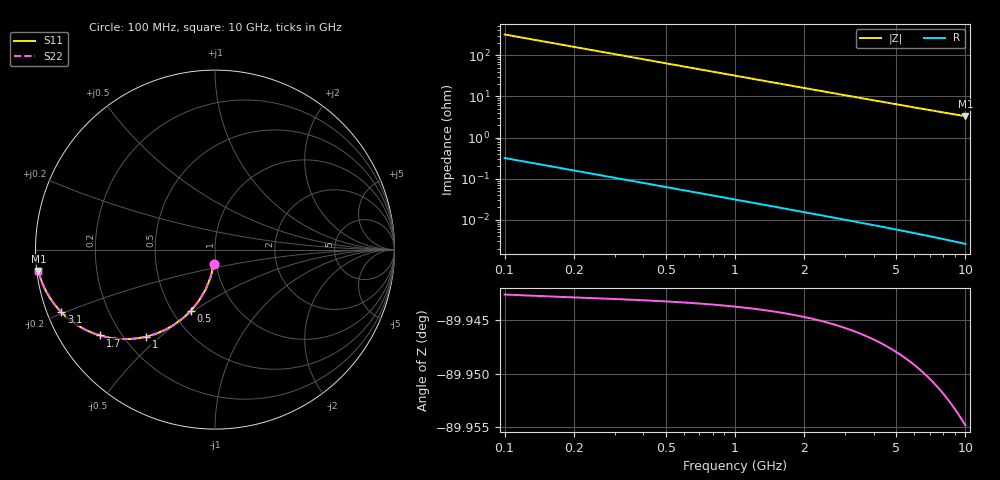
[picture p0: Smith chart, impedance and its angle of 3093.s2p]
# Hz S RI R 50.00
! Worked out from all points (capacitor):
!   100 points, 100 MHz to 10 GHz, reference 50 ohm
!   read as one part in shunt: C = 5 pF near 100 MHz
!   lowest |Z| = 3.31 ohm at 10 GHz (marker M1)
!   S11 on the Smith chart (normalised r, x): 100 MHz: 0.98, -0.15; 500 MHz: 0.62, -0.48; 1 GHz: 0.29, -0.45; 1.7 GHz: 0.12, -0.33; 3.1 GHz: 0.04, -0.20; 10 GHz: 0.00, -0.06
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1e8  -0.00618 -0.078  0.9938 -0.0781  0.9938 -0.0781  -0.00618 -0.078
2e8  -0.0242 -0.1532  0.9757 -0.1534  0.9757 -0.1534  -0.0242 -0.1532
3e8  -0.0528 -0.223  0.9471 -0.2234  0.9471 -0.2234  -0.0528 -0.223
4e8  -0.0901 -0.2856  0.9099 -0.2861  0.9099 -0.2861  -0.0901 -0.2856
5e8  -0.1339 -0.3398  0.8661 -0.3404  0.8661 -0.3404  -0.1339 -0.3398
6e8  -0.182 -0.385  0.8179 -0.3857  0.8179 -0.3857  -0.182 -0.385
7e8  -0.2324 -0.4215  0.7676 -0.4223  0.7676 -0.4223  -0.2324 -0.4215
8e8  -0.2833 -0.4496  0.7167 -0.4506  0.7167 -0.4506  -0.2833 -0.4496
1e9  -0.3817 -0.4847  0.6183 -0.4859  0.6183 -0.4859  -0.3817 -0.4847
1.3e9  -0.5104 -0.4986  0.4896 -0.5001  0.4896 -0.5001  -0.5104 -0.4986
1.5e9  -0.5811 -0.492  0.4188 -0.4937  0.4188 -0.4937  -0.5811 -0.492
1.7e9  -0.6404 -0.4784  0.3595 -0.4803  0.3595 -0.4803  -0.6404 -0.4784
1.8e9  -0.6663 -0.47  0.3337 -0.4721  0.3337 -0.4721  -0.6663 -0.47
2.1e9  -0.7309 -0.4418  0.269 -0.4442  0.269 -0.4442  -0.7309 -0.4418
2.4e9  -0.78 -0.4123  0.2199 -0.4151  0.2199 -0.4151  -0.78 -0.4123
3.1e9  -0.8553 -0.3495  0.1446 -0.353  0.1446 -0.353  -0.8553 -0.3495
3.4e9  -0.8767 -0.3263  0.1233 -0.3302  0.1233 -0.3302  -0.8767 -0.3263
4.2e9  -0.9155 -0.2751  0.0844 -0.2799  0.0844 -0.2799  -0.9155 -0.2751
5.1e9  -0.9411 -0.2319  0.0588 -0.2378  0.0588 -0.2378  -0.9411 -0.2319
6.7e9  -0.965 -0.1791  0.0349 -0.187  0.0349 -0.187  -0.965 -0.1791
8.4e9  -0.9775 -0.1426  0.0224 -0.1525  0.0224 -0.1525  -0.9775 -0.1426
1e10  -0.9841 -0.1184  0.0158 -0.1303  0.0158 -0.1303  -0.9841 -0.1184
